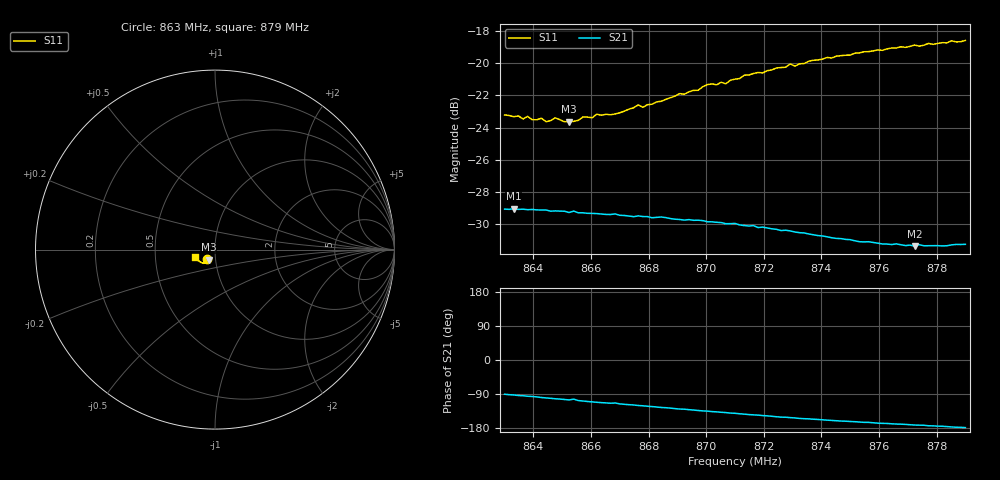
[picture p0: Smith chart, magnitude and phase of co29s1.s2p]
# HZ S RI R 50
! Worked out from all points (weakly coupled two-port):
!   101 points, 863 MHz to 879 MHz, reference 50 ohm
!   highest |S21| = -29.03 dB at 863.32 MHz (marker M1); lowest = -31.4 dB at 877.24 MHz (marker M2)
!   lowest |S11| = -23.6 dB at 865.24 MHz (marker M3), VSWR 1.14, Z = 46.4 - j5.23 ohm
!   |S11| at or under -10 dB: start of sweep to end of sweep
!   S12 and S22 are empty: the file has one direction only
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8.63e8  -0.0437 -0.0536  -0.00018 -0.0352  0 0  0 0
8.6332e8  -0.0416 -0.0541  -0.00144 -0.0353  0 0  0 0
8.638e8  -0.0402 -0.0553  -0.00345 -0.0349  0 0  0 0
8.6396e8  -0.0384 -0.0547  -0.00389 -0.0349  0 0  0 0
8.6428e8  -0.0373 -0.0563  -0.00551 -0.0346  0 0  0 0
8.6444e8  -0.0379 -0.0538  -0.0061 -0.0345  0 0  0 0
8.6476e8  -0.0372 -0.0566  -0.00742 -0.034  0 0  0 0
8.6524e8  -0.0344 -0.0561  -0.00913 -0.0332  0 0  0 0
8.6572e8  -0.0342 -0.0589  -0.0107 -0.0326  0 0  0 0
8.6684e8  -0.0308 -0.0624  -0.0135 -0.0312  0 0  0 0
8.6764e8  -0.0366 -0.0646  -0.0168 -0.029  0 0  0 0
8.678e8  -0.0347 -0.0642  -0.0171 -0.0287  0 0  0 0
8.6844e8  -0.0369 -0.0667  -0.0192 -0.0272  0 0  0 0
8.6908e8  -0.0402 -0.0697  -0.0208 -0.0253  0 0  0 0
8.6972e8  -0.0405 -0.0718  -0.0223 -0.0237  0 0  0 0
8.7004e8  -0.0439 -0.0737  -0.0227 -0.0228  0 0  0 0
8.7068e8  -0.0455 -0.0734  -0.0239 -0.0209  0 0  0 0
8.71e8  -0.0489 -0.0747  -0.0246 -0.0202  0 0  0 0
8.7372e8  -0.0695 -0.0749  -0.0269 -0.0118  0 0  0 0
8.7644e8  -0.0932 -0.0612  -0.0268 -0.00552  0 0  0 0
8.7724e8  -0.0994 -0.0557  -0.0268 -0.00393  0 0  0 0
8.79e8  -0.1109 -0.0394  -0.0274 -0.000752  0 0  0 0
